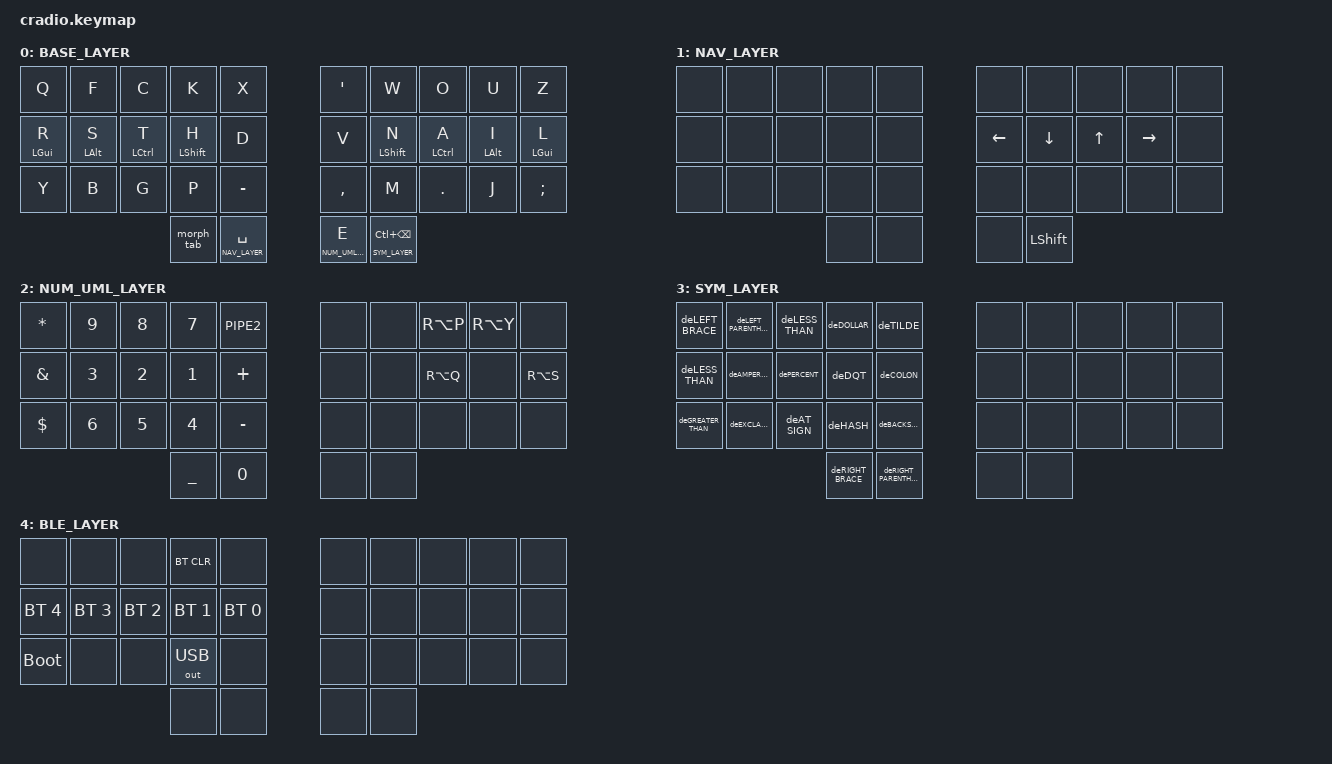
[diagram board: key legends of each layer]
/*
 * Copyright (c) 2020 The ZMK Contributors
 *
 * SPDX-License-Identifier: MIT
 */

#include <behaviors.dtsi>
#include <dt-bindings/zmk/keys.h>
#include <dt-bindings/zmk/bt.h>
#include <dt-bindings/zmk/outputs.h>

#include "wrappers.h"

/*                KEY POSITIONS

  ╭────────────────────╮ ╭────────────────────╮
  │  0   1   2   3   4 │ │  5   6   7   8   9 │
  │ 10  11  12  13  14 │ │ 15  16  17  18  19 │
  │ 20  21  22  23  24 │ │ 25  26  27  28  29 │
  ╰───────────╮ 30  31 │ │ 32  33 ╭───────────╯
              ╰────────╯ ╰────────╯            
*/

#define BASE_LAYER 0
#define NAV_LAYER 1
#define NUM_UML_LAYER 2
#define SYM_LAYER 3
#define BLE_LAYER 4

&caps_word {
   continue-list = <LSHIFT UNDERSCORE MINUS BSPC>; 
};

/ {

    macros {

	lambda_arrow: lambda_arrow {
            label = "lambda_arrow";
            compatible = "zmk,behavior-macro";
	    #binding-cells = <0>;
            wait-ms = <10>;
	    tap-ms = <10>;
	    bindings
	    = <&kp MINUS &kp GREATER_THAN>
	    ;
        };
	
    };

    combos {
        compatible = "zmk,combos"; 

        combo_bootloader_left {
            timeout-ms = <50>;
            key-positions = <0 1 31>;
            bindings = <&bootloader>;
        };
	
       combo_bootloader_right {
            timeout-ms = <50>;
            key-positions = <8 9 32>;
            bindings = <&bootloader>;
        };

        combo_lBrak {
            timeout-ms = <50>;
            key-positions = <1 2>;
            bindings = <&kp LBKT>;
        };

        combo_rBrak {
            timeout-ms = <50>;
            key-positions = <2 3>;
            bindings = <&kp RBKT>;
        };

        combo_lPar {
            timeout-ms = <50>;
            key-positions = <6 7>;
            bindings = <&kp LPAR>;
        };
	
	combo_rPar {
            timeout-ms = <50>;
            key-positions = <7 8>;
            bindings = <&kp RPAR>;
        };

	combo_at_sign {
            timeout-ms = <50>;
            key-positions = <1 11>;
            bindings = <&kp AT_SIGN>;
        };
	
	combo_hash {
            timeout-ms = <50>;
            key-positions = <2 12>;
            bindings = <&kp HASH>;
        };
	
	combo_dollar {
            timeout-ms = <50>;
            key-positions = <3 13>;
            bindings = <&kp DOLLAR>;
        };
	
	combo_ampersand {
            timeout-ms = <50>;
            key-positions = <6 16>;
            bindings = <&kp AMPS>;
        };
	
	combo_star {
            timeout-ms = <50>;
            key-positions = <7 17>;
            bindings = <&kp STAR>;
        };
	
	combo_backslash {
            timeout-ms = <50>;
            key-positions = <8 18>;
            bindings = <&kp BSLH>;
        };
	
	combo_questionmark {
            timeout-ms = <50>;
            key-positions = <6 17>;
            bindings = <&kp QMARK>;
        };
	
	combo_exclamation {
            timeout-ms = <50>;
            key-positions = <2 13>;
            bindings = <&kp EXCL>;
        };

// ------  second row ------------- 

        combo_del {
            timeout-ms = <50>;
            key-positions = <8 9>;
            bindings = <&kp DEL>;
        };

        combo_tab {
            timeout-ms = <50>;
            key-positions = <11 12>;
            bindings = <&kp TAB>;
        };
	
	combo_esc {
            timeout-ms = <50>;
            key-positions = <12 13>;
            bindings = <&kp ESC>;
        };
	
	combo_equals {
            timeout-ms = <50>;
            key-positions = <13 14>;
            bindings = <&kp EQUAL>;
        };
	
 	combo_grave {
            timeout-ms = <50>;
            key-positions = <15 16>;
            bindings = <&kp GRAVE>;
        };
 
        combo_enter {
            timeout-ms = <50>;
            key-positions = <16 17>;
            bindings = <&kp RET>;
        };
 
        combo_delete_word {
            timeout-ms = <50>;
            key-positions = <16 17 18>;
            bindings = <&kp LA(BSPC)>;
        };

        combo_backspace {
            timeout-ms = <50>;
            key-positions = <17 18>;
            bindings = <&kp BSPC>;
        };
	
	combo_caps_word {
            timeout-ms = <50>;
            key-positions = <13 16>;
            bindings = <&caps_word>;
        };	
	
// ----- third row ----------------

        combo_lBrace {
            timeout-ms = <50>;
            key-positions = <21 22>;
            bindings = <&kp LEFT_BRACE>;
        };

        combo_rBrace {
            timeout-ms = <50>;
            key-positions = <22 23>;
            bindings = <&kp RIGHT_BRACE>;
        };

        combo_cut {
            timeout-ms = <50>;
            key-positions = <20 21>;
            bindings = <&kp K_CUT>;
        };

        combo_copy {
            timeout-ms = <50>;
            key-positions = <21 22>;
            bindings = <&kp K_COPY>;
        };
	
        combo_paste {
            timeout-ms = <50>;
            key-positions = <22 23>;
            bindings = <&kp K_PASTE>;
        };
	
        combo_arrow {
            timeout-ms = <50>;
            key-positions = <23 24>;
            bindings = <&lambda_arrow>;
        };
	
        combo_bleLayer {
            timeout-ms = <125>;
            key-positions = <30 31>;
            bindings = <&mo BLE_LAYER>;
        };
	
    };
   
    
    behaviors {        
		hm_shift: homerow_mods_shift {
			compatible = "zmk,behavior-hold-tap";
			label = "HOMEROW_MODS_SHIFT";
			#binding-cells = <2>;
			tapping_term_ms = <125>;
			quick_tap_ms = <200>;
			global-quick-tap;
			flavor = "tap-preferred";
			bindings = <&kp>, <&kp>;
		};
		
		hm_gui: homerow_mods_gui {
			compatible = "zmk,behavior-hold-tap";
			label = "HOMEROW_MODS_GUI";
			#binding-cells = <2>;
			tapping_term_ms = <175>;
			quick_tap_ms = <200>;
			global-quick-tap;
			flavor = "tap-preferred";
			bindings = <&kp>, <&kp>;
		};
		
		gqt: global-quick-tap {
		    compatible = "zmk,behavior-hold-tap";
		    label = "GLOBAL_QUICK_TAP";
		    #binding-cells = <2>;
		    flavor = "tap-preferred";
		    tapping-term-ms = <175>;
		    quick-tap-ms = <125>;
		    global-quick-tap;
		    retro-tap;
		    bindings = <&kp>, <&kp>;
		};
		
		morph_tab: morph_tab {
		    compatible = "zmk,behavior-mod-morph";
		    label = "MOD_MORPH";
		    #binding-cells = <0>;
		    bindings = <&lt NAV_LAYER SLASH>, <&kp TAB>;
		    mods = <(MOD_LGUI|MOD_LCTL|MOD_LALT)>;
		};


	};
 


    keymap {
       compatible = "zmk,keymap";

       BASE_LAYER {
          bindings = <
&kp Q           &kp F        &kp C         &kp K               &kp X             &kp APOS  &kp W               &kp O         &kp U        &kp Z
&hm_gui LGUI R  &gqt LALT S  &gqt LCTRL T  &hm_shift LSHIFT H  &kp D                 &kp V      &hm_shift LSHIFT N  &gqt LCTRL A  &gqt LALT I  &hm_gui LGUI L 
&kp Y           &kp B      &kp G         &kp P               &kp MINUS             &kp COMMA      &kp M               &kp DOT       &kp J    &kp SEMI
                                      &morph_tab  &lt NAV_LAYER SPACE        &lt NUM_UML_LAYER E  &lt SYM_LAYER LC(BSPC)
                  >;
                };


       NAV_LAYER {
          bindings = <
  &none  &none  &none  &none  &none      &none    &none     &none   &none      &none
  &none  &none  &none  &none  &none      &kp LEFT &kp DOWN  &kp UP  &kp RIGHT  &none
  &none  &none  &none  &none  &none      &none    &none     &none   &none      &none
                        &none &none      &none  &kp LSHFT
                        >;
                };
/*
   NUMBER LAYER
  ╭────────────────────╮ ╭────────────────────╮
  │  *   9   8   7   | │ │ __  __   ö   ü  __ │
  │  &   3   2   1   + │ │ __  __   ä  __   ß │
  │  $   6   5   4   - │ │ __  __  __  __  __ │
  ╰───────────╮  _   0 │ │        ╭───────────╯
              ╰────────╯ ╰────────╯            
*/
       NUM_UML_LAYER {
          bindings = <
  &kp STAR  &kp N9  &kp N8  &kp N7  &kp PIPE2          &none  &none  &kp RA(P)  &kp RA(Y)  &none
  &kp AMPS  &kp N3  &kp N2  &kp N1  &kp PLUS      &none  &none  &kp RA(Q)  &none     &kp RA(S)
  &kp DOLLAR &kp N6  &kp N5  &kp N4  &kp MINUS          &none  &none  &none     &none      &none
               &kp UNDER &kp N0          &none &none
                        >;
                };

/*               SYMBOL LAYER 

  ╭────────────────────╮ ╭────────────────────╮
  │  {   (   <   $   ~ │ │ __  __  __  __  __ │
  │  €   &   %   "   : │ │ __  __  __  __  __ │
  │  >   !   @   #   | │ │ __  __  __  __  __ │
  ╰───────────╮  }   ) │ │ __  __ ╭───────────╯
              ╰────────╯ ╰────────╯            
*/
       SYM_LAYER {
          bindings = <
  &kp deLEFT_BRACE    &kp deLEFT_PARENTHESIS  &kp deLESS_THAN  &kp deDOLLAR  &kp deTILDE        &none  &none  &none  &none  &none
  &kp deLESS_THAN     &kp deAMPERSAND         &kp dePERCENT    &kp deDQT     &kp deCOLON        &none  &none  &none  &none  &none
  &kp deGREATER_THAN  &kp deEXCLAMATION       &kp deAT_SIGN    &kp deHASH    &kp deBACKSLASH    &none  &none  &none  &none  &none
                                          &kp deRIGHT_BRACE &kp deRIGHT_PARENTHESIS             &none &none
                        >;
                };

       BLE_LAYER {
          bindings = <
  &none        &none         &none         &bt BT_CLR     &none                 &none &none &none &none &none
  &bt BT_SEL 4  &bt BT_SEL 3  &bt BT_SEL 2  &bt BT_SEL 1   &bt BT_SEL 0          &none &none &none &none &none
  &bootloader   &none         &none         &out OUT_USB   &none                 &none &none &none &none &none
                                              &none &none                        &none &none
                        >;
                };
   };
};
